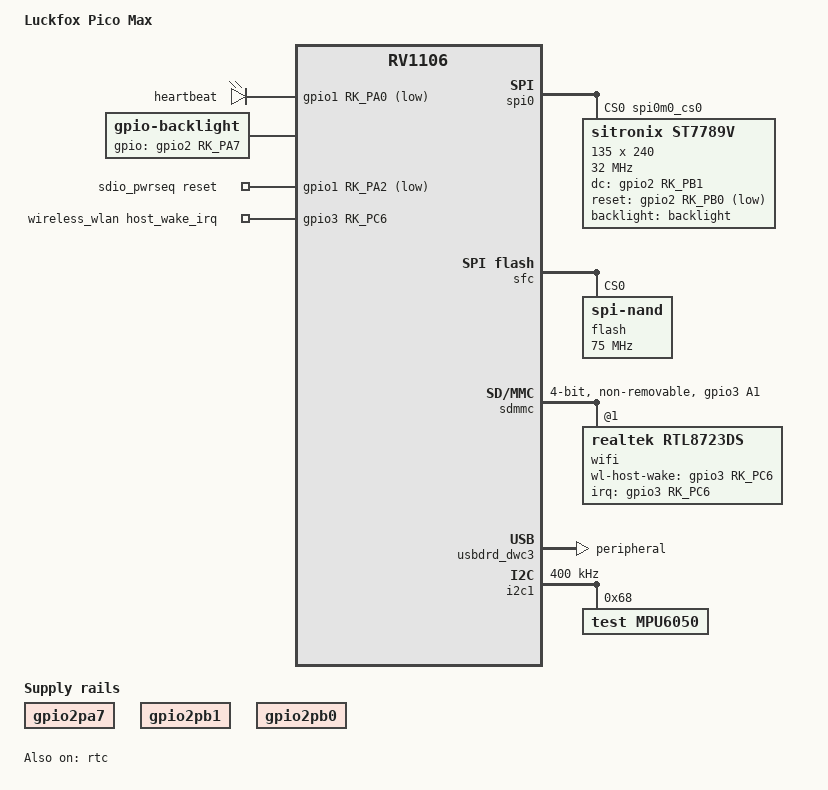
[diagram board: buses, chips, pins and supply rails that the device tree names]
// SPDX-License-Identifier: (GPL-2.0+ OR MIT)
/*
 * Copyright (c) 2022 Rockchip Electronics Co., Ltd.
 */

/dts-v1/;

#include "rv1106.dtsi"
#include "rv1106-evb.dtsi"
#include "rv1106-luckfox-pico-pro-max-ipc.dtsi"
#include <dt-bindings/input/input.h>
#include <dt-bindings/display/media-bus-format.h>


/ {
	model = "Luckfox Pico Max";
	compatible = "rockchip,rv1103g-38x38-ipc-v10", "rockchip,rv1106";



	leds {
        compatible = "gpio-leds";
        
        heartbeat_led {
            label = "heartbeat";
            gpios = <&gpio1 RK_PA0 GPIO_ACTIVE_LOW>;
            default-state = "on";
            //max-brightness = <255>;  // 手动设置最大亮度
            linux,default-trigger = "heartbeat";
            status = "okay";  // 这应该在每个 LED 节点下
        };
    };
    
    backlight: backlight {
    compatible = "gpio-backlight";
    gpios = <&gpio2 RK_PA7 GPIO_ACTIVE_HIGH>;
    default-on;  // 默认开启背光
    status = "okay";
};

	/*LCD_BL*/
	gpio2pa7:gpio2pa7 {
		compatible = "regulator-fixed";
		pinctrl-names = "default";
		pinctrl-0 = <&gpio2_pa7>;
		regulator-name = "gpio2_pa7";
		regulator-always-on;
	};
 
	/*LCD_DC*/
    gpio2pb1:gpio2pb1 {
		compatible = "regulator-fixed";
		pinctrl-names = "default";
		pinctrl-0 = <&gpio2_pb1>;
		regulator-name = "gpio2_pb1";
		regulator-always-on;
	};
 
	/*LCD_RES*/
    gpio2pb0:gpio2pb0 {
        compatible = "regulator-fixed";
        pinctrl-names = "default";
        pinctrl-0 = <&gpio2_pb0>;
        regulator-name = "gpio2_pb0";
        regulator-always-on;
    };

    sdio_pwrseq: sdio-pwrseq {
	compatible = "mmc-pwrseq-simple";
	pinctrl-names = "default";
	pinctrl-0 = <&wifi_enable_h>;
	reset-gpios = <&gpio1 RK_PA2 GPIO_ACTIVE_LOW>;//随便给的
	};


    wireless_wlan: wireless-wlan {
		compatible = "wlan-platdata";
		wifi_chip_type = "rtl8723ds";
		pinctrl-names = "default";
		WIFI,host_wake_irq = <&gpio3 RK_PC6 GPIO_ACTIVE_HIGH>;
		status = "okay";
	};
	

};

&spi0 {

	status = "okay";

        pinctrl-names = "default";

        pinctrl-0 = <&spi0m0_pins>;		// 包含clk,mi,mo
        cs-gpios=<&spi0m0_cs0>;
        #address-cells = <1>;
    	#size-cells = <0>;

	

        st7789v@0{

        status = "okay";

        compatible = "sitronix,st7789v";

        reg = <0>;
	rotate =<270>;
        spi-max-frequency = <32000000>;
        rgb;
	spi-cpol;
        spi-cpha;
	width = <135>;  // 修改为实际的宽度
    	height = <240>; // 修改为实际的高度
    	
        fps = <30>;

        buswidth = <8>;

        debug = <0x0>;
        
      
	cs-gpios = <&gpio1 RK_PC0 GPIO_ACTIVE_LOW>;     
        dc-gpios = <&gpio2 RK_PB1 GPIO_ACTIVE_HIGH>; 
        reset-gpios = <&gpio2 RK_PB0 GPIO_ACTIVE_LOW>; 
        backlight = <&backlight>;  // 引用背光节点
	};
};



/**********FLASH**********/
&sfc {
	status = "okay";
	flash@0 {
		compatible = "spi-nand";
		reg = <0>;
		spi-max-frequency = <75000000>;
		spi-rx-bus-width = <4>;
		spi-tx-bus-width = <1>;
	};
	
};

/**********SDMMC**********/
&sdmmc {
    max-frequency = <50000000>;
    bus-width = <4>;
    #address-cells = <1>;
    #size-cells = <0>;
    cap-sd-highspeed;
    cap-sdio-irq;
    keep-power-in-suspend;
    non-removable;
    supports-sdio;
    mmc-pwrseq = <&sdio_pwrseq>;
    pinctrl-names = "default";
    pinctrl-0 = <&sdmmc0_clk &sdmmc0_cmd &sdmmc0_bus4 &sdmmc0_det>;
    status = "okay";
    
     wifi@1 {
        reg = <1>;  // function 1 是标准 SDIO WLAN 的 function
        compatible = "realtek,rtl8723ds";
        interrupt-parent = <&gpio3>;
        interrupts = <RK_PC6 IRQ_TYPE_LEVEL_HIGH>; // 与 wireless_wlan 中的保持一致
        rockchip,wl-host-wake-gpios = <&gpio3 RK_PC6 GPIO_ACTIVE_HIGH>; // 可选，用于唤醒
        status = "okay";
    };
    
};


/**********ETH**********/
&gmac {
	status = "disabled";
};

/**********USB**********/
&usbdrd_dwc3 {
	status = "okay";
	dr_mode = "peripheral";
};



&pinctrl {


		/*dc*/
	    gpio2-pb1 {
		gpio2_pb1:gpio2-pb1 {
		    rockchip,pins = <2 RK_PB1 RK_FUNC_GPIO &pcfg_pull_none>;
		};
	    };

        /*LCD_RES*/
	gpio2-pb0 {
        	gpio2_pb0:gpio2-pb0 {
            		rockchip,pins = <2 RK_PB0 RK_FUNC_GPIO &pcfg_pull_none>;
        	};
    	};
	
	 /*LCD_BACKLIGHT*/
	    gpio2-pa7 {
		gpio2_pa7:gpio2-pa7 {
		    rockchip,pins = <2 RK_PA7 RK_FUNC_GPIO &pcfg_pull_none>;
		};
	    };
	    


	sdmmc0{
		sdmmc0_det: sdmmc0-det {
			rockchip,pins =
				/* sdmmc0_det */
				<3 RK_PA1 1 &pcfg_pull_down>;
		};
  	};
	
	wireless-wlan {
		wifi_host_wake_irq: wifi-host-wake-irq {
			rockchip,pins = <3 RK_PC6 RK_FUNC_GPIO &pcfg_pull_none>;
		};
	};

	wifi-enable{
		wifi_enable_h:wifi-enable-h{
		rockchip,pins = <1 RK_PA2 RK_FUNC_GPIO &pcfg_pull_none>;
		};
	};

			 
};


/**********I2C**********/
/* I2C3_M1 */
&i2c3 {
	status = "disabled";
	clock-frequency = <100000>;
};

/* I2C1_M0 */
&i2c1 {
	status = "okay";
	clock-frequency = <400000>;
	pincrtl-0=<&i2c1m0_xfer>;
	pinctrl-names = "default";
	#address-cells = <1>;
    	#size-cells = <0>;
	
	mpu6050:mpu6050@68{
		compatible= "test,mpu6050";
		reg=<0x68>;
		status="okay";
	
	};

};


/**********UART**********/
/* UART3_M1 */
&uart3 {
	status = "disabled";
};

/* UART4_M1 */
&uart4 {
	status = "disabled";
};

/**********RTC**********/
&rtc {
	status = "okay";
};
